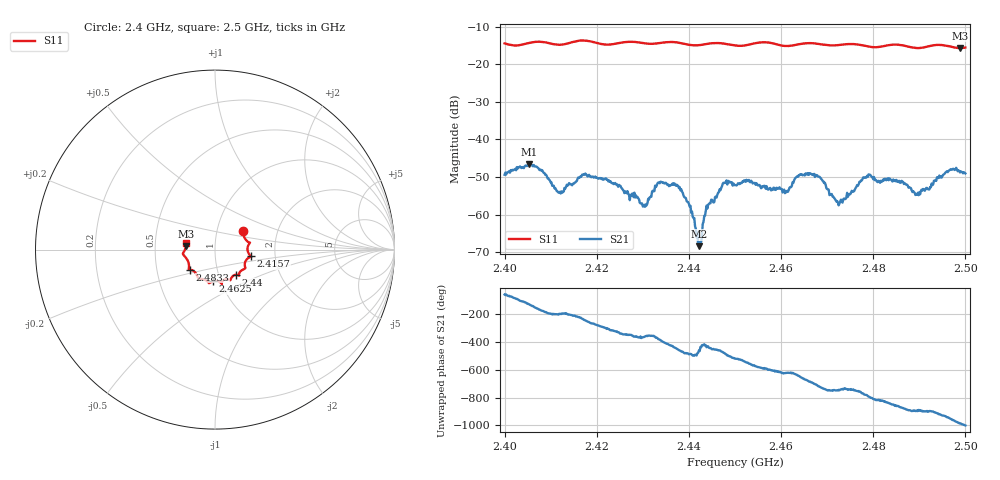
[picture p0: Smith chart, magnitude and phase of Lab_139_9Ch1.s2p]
# Hz S RI R 50
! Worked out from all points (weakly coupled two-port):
!   601 points, 2.4 GHz to 2.5 GHz, reference 50 ohm
!   highest |S21| = -46.58 dB at 2.4053 GHz (marker M1); lowest = -68.4 dB at 2.4422 GHz (marker M2)
!   lowest |S11| = -15.7 dB at 2.4988 GHz (marker M3), VSWR 1.39, Z = 36 + j1.37 ohm
!   |S11| at or under -10 dB: start of sweep to end of sweep
!   S12 and S22 are empty: the file has one direction only
!   S11 on the Smith chart (normalised r, x): 2.4 GHz: 1.33, +0.29; 2.4157 GHz: 1.49, -0.12; 2.44 GHz: 1.21, -0.35; 2.4625 GHz: 0.92, -0.34; 2.4833 GHz: 0.74, -0.17; 2.5 GHz: 0.72, +0.05
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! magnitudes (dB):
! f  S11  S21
! 2.4 GHz  -14.5  -49.4
! 2.4053 GHz  -14.4  -46.6
! 2.4117 GHz  -14.9  -54.1
! 2.4157 GHz  -13.9  -51.1
! 2.4167 GHz  -13.7  -49.9
! 2.4222 GHz  -14.8  -50.8
! 2.4303 GHz  -14.4  -57.4
! 2.4333 GHz  -14.4  -51.5
! 2.4373 GHz  -14.2  -52.1
! 2.44 GHz  -14.8  -57.2
! 2.4422 GHz  -14.9  -68.4
! 2.4443 GHz  -14.5  -57.2
! 2.4477 GHz  -14.6  -51.6
! 2.45 GHz  -15.0  -52.1
! 2.4625 GHz  -15.0  -51.4
! 2.4667 GHz  -14.4  -49.2
! 2.4728 GHz  -14.9  -56.6
! 2.4787 GHz  -15.2  -49.7
! 2.4833 GHz  -15.0  -50.9
! 2.4897 GHz  -15.7  -54.2
! 2.4988 GHz  -15.7  -48.8
! 2.5 GHz  -15.6  -49.1
